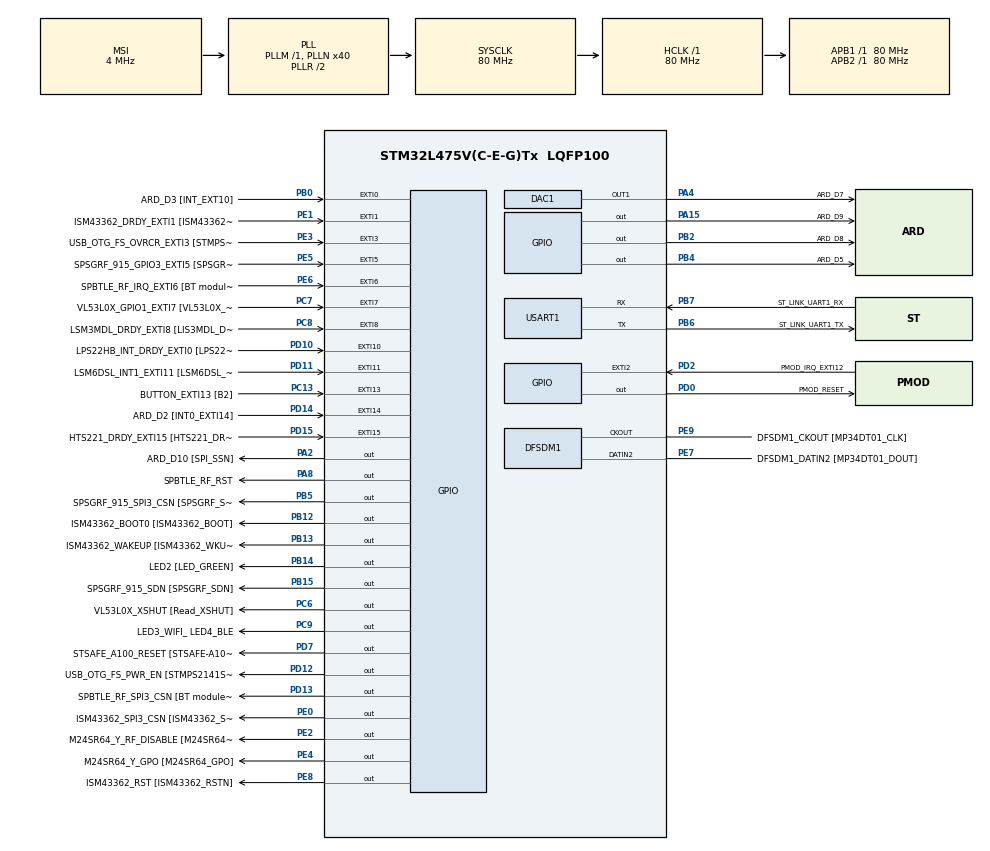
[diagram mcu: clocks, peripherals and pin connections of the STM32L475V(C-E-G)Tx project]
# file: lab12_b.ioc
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DAC1.DAC_Trigger-DAC_OUT1=DAC_TRIGGER_T2_TRGO
DFSDM1.Divider=17
DFSDM1.DmaMode_reg_FIL0=ENABLE
DFSDM1.FastMode_reg_FIL0=ENABLE
DFSDM1.Filter_regChannel_FIL0=DFSDM_CHANNEL_2
DFSDM1.Fosr_FIL0=32
DFSDM1.Oversampling_CH2=10
DFSDM1.RightBitShift_CH2=0x02
DFSDM1.SincOrder_FIL0=DFSDM_FILTER_SINC3_ORDER
Dma.DAC_CH1.1.Direction=DMA_MEMORY_TO_PERIPH
Dma.DAC_CH1.1.Instance=DMA1_Channel3
Dma.DAC_CH1.1.MemDataAlignment=DMA_MDATAALIGN_WORD
Dma.DAC_CH1.1.MemInc=DMA_MINC_ENABLE
Dma.DAC_CH1.1.Mode=DMA_CIRCULAR
Dma.DAC_CH1.1.PeriphDataAlignment=DMA_PDATAALIGN_WORD
Dma.DAC_CH1.1.PeriphInc=DMA_PINC_DISABLE
Dma.DAC_CH1.1.Priority=DMA_PRIORITY_LOW
Dma.DFSDM1_FLT0.0.Direction=DMA_PERIPH_TO_MEMORY
Dma.DFSDM1_FLT0.0.Instance=DMA1_Channel4
Dma.DFSDM1_FLT0.0.MemDataAlignment=DMA_MDATAALIGN_WORD
Dma.DFSDM1_FLT0.0.MemInc=DMA_MINC_ENABLE
Dma.DFSDM1_FLT0.0.Mode=DMA_CIRCULAR
Dma.DFSDM1_FLT0.0.PeriphDataAlignment=DMA_PDATAALIGN_WORD
Dma.DFSDM1_FLT0.0.PeriphInc=DMA_PINC_DISABLE
Dma.DFSDM1_FLT0.0.Priority=DMA_PRIORITY_LOW
Dma.Request0=DFSDM1_FLT0
Dma.Request1=DAC_CH1
FREERTOS.INCLUDE_vTaskDelayUntil=1
FREERTOS.Queues01=Queue01,256,uint32_t,0,Dynamic,NULL,NULL;Queue02,256,uint32_t,0,Dynamic,NULL,NULL
FREERTOS.Tasks01=Task1,1,128,Task1_DetectFrequ,Default,NULL,Dynamic,NULL,NULL;Task2,0,128,Task2_DetectSilence,Default,NULL,Dynamic,NULL,NULL;Task3,-1,128,Task3_GenerateWave,Default,NULL,Dynamic,NULL,NULL
FREERTOS.configTOTAL_HEAP_SIZE=4500
FREERTOS.configUSE_NEWLIB_REENTRANT=1
Mcu.Family=STM32L4
Mcu.Name=STM32L475V(C-E-G)Tx
Mcu.Package=LQFP100
NVIC.DMA1_Channel3_IRQn=true\:5\:0\:false\:false\:true\:true\:false\:true\:true
NVIC.DMA1_Channel4_IRQn=true\:5\:0\:false\:false\:true\:true\:false\:true\:true
NVIC.EXTI15_10_IRQn=true\:5\:0\:false\:false\:true\:true\:true\:true\:true
NVIC.EXTI9_5_IRQn=true\:5\:0\:false\:false\:true\:true\:true\:true\:true
NVIC.PriorityGroup=NVIC_PRIORITYGROUP_4
NVIC.TIM1_UP_TIM16_IRQn=true\:0\:0\:false\:false\:true\:false\:false\:true\:true
NVIC.TIM2_IRQn=true\:5\:0\:false\:false\:true\:true\:true\:true\:true
NVIC.TimeBase=TIM1_UP_TIM16_IRQn
NVIC.TimeBaseIP=TIM1
PA0.GPIO_Label=ARD_D1 [UART4_TX]
PA0.Signal=UART4_TX
PA1.GPIO_Label=ARD_D0 [UART4_RX]
PA1.Signal=UART4_RX
PA10.GPIO_Label=USB_OTG_FS_ID
PA10.Signal=USB_OTG_FS_ID
PA11.GPIO_Label=USB_OTG_FS_DM
PA11.Signal=USB_OTG_FS_DM
PA12.GPIO_Label=USB_OTG_FS_DP
PA12.Signal=USB_OTG_FS_DP
PA13\ (JTMS-SWDIO).GPIO_Label=SYS_JTMS_SWDIO
PA13\ (JTMS-SWDIO).Signal=SYS_JTMS-SWDIO
PA14\ (JTCK-SWCLK).GPIO_Label=SYS_JTCK_SWCLK
PA14\ (JTCK-SWCLK).Signal=SYS_JTCK-SWCLK
PA15\ (JTDI).GPIO_Label=ARD_D9
PA15\ (JTDI).Signal=GPIO_Output
PA2.GPIO_Label=ARD_D10 [SPI_SSN]
PA2.Signal=GPIO_Output
PA3.GPIO_Label=ARD_D4
PA3.Signal=S_TIM2_CH4
PA4.GPIO_Label=ARD_D7
PA4.Signal=SharedAnalog_PA4
PA5.GPIO_Label=ARD_D13 [SPI1_SCK]
PA5.Signal=SPI1_SCK
PA6.GPIO_Label=ARD_D12 [SPI1_MISO]
PA6.Signal=SPI1_MISO
PA7.GPIO_Label=ARD_D11 [SPI1_MOSI]
PA7.Signal=SPI1_MOSI
PA8.GPIO_Label=SPBTLE_RF_RST
PA8.Signal=GPIO_Output
PA9.GPIO_Label=USB_OTG_FS_VBUS [STMPS2141STR_OUT]
PA9.Signal=USB_OTG_FS_VBUS
PB0.GPIO_Label=ARD_D3 [INT_EXT10]
PB0.Signal=GPXTI0
PB1.GPIO_Label=ARD_D6 [ADC1_IN6]
PB1.Signal=ADCx_IN16
PB10.GPIO_Label=INTERNAL_I2C2_SCL [VL53L0X_SCL]
PB10.Signal=I2C2_SCL
PB11.GPIO_Label=INTERNAL_I2C2_SDA [VL53L0X_SDA]
PB11.Signal=I2C2_SDA
PB12.GPIO_Label=ISM43362_BOOT0 [ISM43362_BOOT]
PB12.Signal=GPIO_Output
PB13.GPIO_Label=ISM43362_WAKEUP [ISM43362_WKUP]
PB13.Signal=GPIO_Output
PB14.GPIO_Label=LED2 [LED_GREEN]
PB14.Signal=GPIO_Output
PB15.GPIO_Label=SPSGRF_915_SDN [SPSGRF_SDN]
PB15.Signal=GPIO_Output
PB2.GPIO_Label=ARD_D8
PB2.Signal=GPIO_Output
PB3\ (JTDO-TRACESWO).GPIO_Label=SYS_JTD0_SWO
PB3\ (JTDO-TRACESWO).Signal=SYS_JTDO-SWO
PB4\ (NJTRST).GPIO_Label=ARD_D5
PB4\ (NJTRST).Signal=GPIO_Output
PB5.GPIO_Label=SPSGRF_915_SPI3_CSN [SPSGRF_SPI_CS]
PB5.PinState=GPIO_PIN_SET
PB5.Signal=GPIO_Output
PB6.GPIO_Label=ST_LINK_UART1_TX
PB6.Mode=Asynchronous
PB6.Signal=USART1_TX
PB7.GPIO_Label=ST_LINK_UART1_RX
PB7.Mode=Asynchronous
PB7.Signal=USART1_RX
PB8.GPIO_Label=ARD_D15 [I2C1_SCL]
PB8.Signal=I2C1_SCL
PB9.GPIO_Label=ARD_D14 [I2C1_SDA]
PB9.Signal=I2C1_SDA
PC0.GPIO_Label=ARD_A5 [ADC]
PC0.Signal=ADCx_IN1
PC1.GPIO_Label=ARD_A4 [ADC]
PC1.Signal=ADCx_IN2
PC10.GPIO_Label=INTERNAL_SPI3_SCK [BT module_SPI_SCLK] [ISM43362_SCK]
PC10.Signal=SPI3_SCK
PC11.GPIO_Label=INTERNAL_SPI3_MISO [BT module_SPI_MISO] [ISM43362_MISO]
PC11.Signal=SPI3_MISO
PC12.GPIO_Label=INTERNAL_SPI3_MOSI [BT module_SPI_MOSI] [ISM43362_MOSI]
PC12.Signal=SPI3_MOSI
PC13.GPIO_Label=BUTTON_EXTI13 [B2]
PC13.GPIO_ModeDefaultEXTI=GPIO_MODE_IT_FALLING
PC13.Signal=GPXTI13
PC14-OSC32_IN\ (PC14).Signal=RCC_OSC32_IN
PC15-OSC32_OUT\ (PC15).Signal=RCC_OSC32_OUT
PC2.GPIO_Label=ARD_A3 [ADC]
PC2.Signal=ADCx_IN3
PC3.GPIO_Label=ARD_A2 [ADC]
PC3.Signal=ADCx_IN4
PC4.GPIO_Label=ARD_A1 [ADC]
PC4.Signal=ADCx_IN13
PC5.GPIO_Label=ARD_A0 [ADC]
PC5.Signal=ADCx_IN14
PC6.GPIO_Label=VL53L0X_XSHUT [Read_XSHUT]
PC6.Signal=GPIO_Output
PC7.GPIO_Label=VL53L0X_GPIO1_EXTI7 [VL53L0X_GPIO1]
PC7.Signal=GPXTI7
PC8.GPIO_Label=LSM3MDL_DRDY_EXTI8 [LIS3MDL_DRDY]
PC8.Signal=GPXTI8
PC9.GPIO_Label=LED3_WIFI_ LED4_BLE
PC9.Signal=GPIO_Output
PD0.GPIO_Label=PMOD_RESET
PD0.Signal=GPIO_Output
PD1.GPIO_Label=PMOD_SPI2_SCK
PD1.Signal=SPI2_SCK
PD10.GPIO_Label=LPS22HB_INT_DRDY_EXTI0 [LPS22HB_INT_DRDY] 
PD10.Signal=GPXTI10
PD11.GPIO_Label=LSM6DSL_INT1_EXTI11 [LSM6DSL_INT1]
PD11.Signal=GPXTI11
PD12.GPIO_Label=USB_OTG_FS_PWR_EN [STMPS2141STR_EN]
PD12.Signal=GPIO_Output
PD13.GPIO_Label=SPBTLE_RF_SPI3_CSN [BT module_SPI_CS]
PD13.PinState=GPIO_PIN_SET
PD13.Signal=GPIO_Output
PD14.GPIO_Label=ARD_D2 [INT0_EXTI14]
PD14.Signal=GPXTI14
PD15.GPIO_Label=HTS221_DRDY_EXTI15 [HTS221_DRDY]
PD15.Signal=GPXTI15
PD2.GPIO_Label=PMOD_IRQ_EXTI12
PD2.Signal=GPXTI2
PD3.GPIO_Label=PMOD_UART2_CTS
PD3.Signal=USART2_CTS
PD4.GPIO_Label=PMOD_UART2_RTS
PD4.Signal=USART2_RTS
PD5.GPIO_Label=PMOD_UART2_TX
PD5.Signal=USART2_TX
PD6.GPIO_Label=PMOD_UART2_RX
PD6.Signal=USART2_RX
PD7.GPIO_Label=STSAFE_A100_RESET [STSAFE-A100_RESET]
PD7.Signal=GPIO_Output
PD8.GPIO_Label=INTERNAL_UART3_TX [ISM43362_RX]
PD8.Signal=USART3_TX
PD9.GPIO_Label=INTERNAL_UART3_RX [ISM43362_TX]
PD9.Signal=USART3_RX
PE0.GPIO_Label=ISM43362_SPI3_CSN [ISM43362_SSN]
PE0.PinState=GPIO_PIN_SET
PE0.Signal=GPIO_Output
PE1.GPIO_Label=ISM43362_DRDY_EXTI1 [ISM43362_DATARDY]
PE1.Signal=GPXTI1
PE10.GPIO_Label=QUADSPI_CLK [MX25R6435F_SCLK]
PE10.Signal=QUADSPI_CLK
PE11.GPIO_Label=QUADSPI_NCS [MX25R6435F_SCLK]
PE11.Signal=QUADSPI_NCS
PE12.GPIO_Label=OQUADSPI_BK1_IO0 [MX25R6435F_IO0]
PE12.Signal=QUADSPI_BK1_IO0
PE13.GPIO_Label=QUADSPI_BK1_IO1 [MX25R6435F_IO1]
PE13.Signal=QUADSPI_BK1_IO1
PE14.GPIO_Label=QUAD_SPI_BK1_IO2 [MX25R6435F_IO2]
PE14.Signal=QUADSPI_BK1_IO2
PE15.GPIO_Label=QUAD_SPI_BK1_IO3 [MX25R6435F_IO3]
PE15.Signal=QUADSPI_BK1_IO3
PE2.GPIO_Label=M24SR64_Y_RF_DISABLE [M24SR64_RFDIS]
PE2.Signal=GPIO_Output
PE3.GPIO_Label=USB_OTG_FS_OVRCR_EXTI3 [STMPS2141STR_FAULT]
PE3.Signal=GPXTI3
PE4.GPIO_Label=M24SR64_Y_GPO [M24SR64_GPO]
PE4.Signal=GPIO_Output
PE5.GPIO_Label=SPSGRF_915_GPIO3_EXTI5 [SPSGRF_GPIO_3]
PE5.Signal=GPXTI5
PE6.GPIO_Label=SPBTLE_RF_IRQ_EXTI6 [BT module_SPI_IRQ]
PE6.Signal=GPXTI6
PE7.GPIO_Label=DFSDM1_DATIN2 [MP34DT01_DOUT]
PE7.Signal=S_DATAIN2DFSDM1
PE8.GPIO_Label=ISM43362_RST [ISM43362_RSTN]
PE8.Signal=GPIO_Output
PE9.GPIO_Label=DFSDM1_CKOUT [MP34DT01_CLK]
PE9.Signal=S_CKOUTDFSDM1
ProjectManager.HeapSize=0x200
ProjectManager.StackSize=0x400
ProjectManager.TargetToolchain=STM32CubeIDE
RCC.ADCFreq_Value=48000000
RCC.AHBFreq_Value=80000000
RCC.APB1Freq_Value=80000000
RCC.APB1TimFreq_Value=80000000
RCC.APB2Freq_Value=80000000
RCC.APB2TimFreq_Value=80000000
RCC.CortexFreq_Value=80000000
RCC.HCLKFreq_Value=80000000
RCC.HSE_VALUE=8000000
RCC.HSI_VALUE=16000000
RCC.LSE_VALUE=32768
RCC.MSI_VALUE=4000000
RCC.PLLN=40
RCC.PLLSAI1N=24
RCC.SYSCLKFreq_VALUE=80000000
RCC.SYSCLKSource=RCC_SYSCLKSOURCE_PLLCLK
RCC.USBFreq_Value=48000000
RCC.VCOOutputFreq_Value=160000000
SH.ADCx_IN1.0=ADC1_IN1
SH.ADCx_IN13.0=ADC1_IN13
SH.ADCx_IN14.0=ADC1_IN14
SH.ADCx_IN16.0=ADC1_IN16
SH.ADCx_IN2.0=ADC1_IN2
SH.ADCx_IN3.0=ADC1_IN3
SH.ADCx_IN4.0=ADC1_IN4
SH.S_CKOUTDFSDM1.0=DFSDM1_CKOUT,PDM_SPI_input_from_ch2_and_internal_clock
SH.S_CKOUTDFSDM1.1=DFSDM1_CKOUT,CKOUT
SH.S_DATAIN2DFSDM1.0=DFSDM1_DATIN2,PDM_SPI_input_from_ch2_and_internal_clock
SH.S_TIM2_CH4.0=TIM2_CH4
SH.SharedAnalog_PA4.0=ADC1_IN9
SH.SharedAnalog_PA4.1=DAC1_OUT1,DAC_OUT1
TIM2.Period=79
TIM2.Prescaler=0
TIM2.TIM_MasterOutputTrigger=TIM_TRGO_UPDATE
USART1.VirtualMode-Asynchronous=VM_ASYNC
VP_FREERTOS_VS_CMSIS_V1.Mode=CMSIS_V1
VP_SYS_VS_tim1.Mode=TIM1
VP_TIM2_VS_ClockSourceINT.Mode=Internal
board=B-L475E-IOT01A2

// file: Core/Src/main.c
/* USER CODE BEGIN Header */
/**
  ******************************************************************************
  * @file           : main.c
  * @brief          : Main program body
  ******************************************************************************
  * @attention
  *
  * <h2><center>&copy; Copyright (c) 2022 STMicroelectronics.
  * All rights reserved.</center></h2>
  *
  * This software component is licensed by ST under BSD 3-Clause license,
  * the "License"; You may not use this file except in compliance with the
  * License. You may obtain a copy of the License at:
  *                        opensource.org/licenses/BSD-3-Clause
  *
  ******************************************************************************
  */
/* USER CODE END Header */
#include "main.h"
#include "cmsis_os.h"

/* USER CODE BEGIN Includes */
#include "arm_math.h"
#include "math.h"
#include "stdbool.h"
#include "stdio.h"

float amplitude = 0.0f;   // used in task1
uint32_t sine_arr[100];
void get_sine_arr()
{
	for (int i=0;i<100;i++)
	{
		sine_arr[i] = ((sin(2*M_PI*i/100)+1)*(4095/2));
	}
}
/* USER CODE END Includes */

/* USER CODE BEGIN PD */
#define FFT_SampleNum	2048
#define FFT_AC_COUPLING_HZ  1000.0f

#define FREQ 3000	//input : this freq. will be detected in step1
#define DELTA 100	//input : this defines the range +- from the FREQ

#define FOUT 3200 	//output frequency value
#define TOUT 10000 	//Time for output freq.

/* USER CODE END PD */

DAC_HandleTypeDef hdac1;
DMA_HandleTypeDef hdma_dac_ch1;

DFSDM_Filter_HandleTypeDef hdfsdm1_filter0;
DFSDM_Channel_HandleTypeDef hdfsdm1_channel2;
DMA_HandleTypeDef hdma_dfsdm1_flt0;

TIM_HandleTypeDef htim2;

UART_HandleTypeDef huart1;

osThreadId Task1Handle;
osThreadId Task2Handle;
osThreadId Task3Handle;
osMessageQId Queue01Handle;
osMessageQId Queue02Handle;

/* USER CODE BEGIN PV */
bool task3_flag = false;
bool flag = true;
int32_t Buff[FFT_SampleNum * 2] = {0};

arm_rfft_fast_instance_f32 S;
float FFT_SampleRate;
int32_t FFT_inp_int32[FFT_SampleNum] = {0};
float FFT_inp[FFT_SampleNum] = {0.0f};
float FFT_oup[FFT_SampleNum] = {0.0f};
float FFT_mag[FFT_SampleNum/2] = {0.0f};
float FFT_dB[FFT_SampleNum/2] = {0.0f};
float FFT_frq[FFT_SampleNum/2] = {0.0f};
float FFT_window[FFT_SampleNum] = {0.0f};
/* USER CODE END PV */

void SystemClock_Config(void);
static void MX_GPIO_Init(void);
static void MX_DMA_Init(void);
static void MX_DFSDM1_Init(void);
static void MX_USART1_UART_Init(void);
static void MX_DAC1_Init(void);
static void MX_TIM2_Init(void);
void StartTask1_init(void const * argument);
void StartTask2_init(void const * argument);
void StartTask3_init(void const * argument);

int main(void)
{

  /* MCU Configuration--------------------------------------------------------*/

  /* Reset of all peripherals, Initializes the Flash interface and the Systick. */
  HAL_Init();

  /* Configure the system clock */
  SystemClock_Config();

  /* Initialize all configured peripherals */
  MX_GPIO_Init();
  MX_DMA_Init();
  MX_DFSDM1_Init();
  MX_USART1_UART_Init();
  MX_DAC1_Init();
  MX_TIM2_Init();
  /* USER CODE BEGIN 2 */

  	HAL_DAC_Start(&hdac1, DAC_CHANNEL_1);
    HAL_TIM_Base_Start(&htim2);
    get_sine_arr();

  printf("\r\n\n**************** Program start! ****************\r\n\n");
  HAL_Delay(100);

	if (HAL_DFSDM_FilterRegularStart_DMA(&hdfsdm1_filter0, Buff, FFT_SampleNum) != HAL_OK)
	{
		Error_Handler();
	}

	// FFT init
	FFT_SampleRate = SystemCoreClock / hdfsdm1_channel2.Init.OutputClock.Divider
			/ hdfsdm1_filter0.Init.FilterParam.Oversampling
			/ hdfsdm1_filter0.Init.FilterParam.IntOversampling;

	// Hanning window
	const float tmp = 2.0f * M_PI / (float) FFT_SampleNum;
	for (uint32_t i = 0; i < FFT_SampleNum; i++)
		*(FFT_window + i) = 0.5f - 0.5f * arm_cos_f32((float) i * tmp);

	for (uint32_t i = 0; i < FFT_SampleNum / 2; i++)
		*(FFT_frq + i) = (float)i * (float)FFT_SampleRate / (float) FFT_SampleNum;

	arm_rfft_fast_init_f32(&S, FFT_SampleNum );
  /* USER CODE END 2 */

  /* Create the queue(s) */
  /* definition and creation of Queue01 */
  osMessageQDef(Queue01, 256, uint32_t);
  Queue01Handle = osMessageCreate(osMessageQ(Queue01), NULL);

  /* definition and creation of Queue02 */
  osMessageQDef(Queue02, 256, uint32_t);
  Queue02Handle = osMessageCreate(osMessageQ(Queue02), NULL);

  /* Create the thread(s) */
  /* definition and creation of Task1 */
  osThreadDef(Task1, StartTask1_init, osPriorityAboveNormal, 0, 128);
  Task1Handle = osThreadCreate(osThread(Task1), NULL);

  /* definition and creation of Task2 */
  osThreadDef(Task2, StartTask2_init, osPriorityNormal, 0, 128);
  Task2Handle = osThreadCreate(osThread(Task2), NULL);

  /* definition and creation of Task3 */
  osThreadDef(Task3, StartTask3_init, osPriorityBelowNormal, 0, 128);
  Task3Handle = osThreadCreate(osThread(Task3), NULL);

  /* Start scheduler */
  osKernelStart();

  /* We should never get here as control is now taken by the scheduler */
  /* Infinite loop */
  while (1)
  {

  }
}

void SystemClock_Config(void)
{
  RCC_OscInitTypeDef RCC_OscInitStruct = {0};
  RCC_ClkInitTypeDef RCC_ClkInitStruct = {0};
  RCC_PeriphCLKInitTypeDef PeriphClkInit = {0};

  /** Initializes the RCC Oscillators according to the specified parameters
  * in the RCC_OscInitTypeDef structure.
  */
  RCC_OscInitStruct.OscillatorType = RCC_OSCILLATORTYPE_MSI;
  RCC_OscInitStruct.MSIState = RCC_MSI_ON;
  RCC_OscInitStruct.MSICalibrationValue = 0;
  RCC_OscInitStruct.MSIClockRange = RCC_MSIRANGE_6;
  RCC_OscInitStruct.PLL.PLLState = RCC_PLL_ON;
  RCC_OscInitStruct.PLL.PLLSource = RCC_PLLSOURCE_MSI;
  RCC_OscInitStruct.PLL.PLLM = 1;
  RCC_OscInitStruct.PLL.PLLN = 40;
  RCC_OscInitStruct.PLL.PLLP = RCC_PLLP_DIV7;
  RCC_OscInitStruct.PLL.PLLQ = RCC_PLLQ_DIV2;
  RCC_OscInitStruct.PLL.PLLR = RCC_PLLR_DIV2;
  if (HAL_RCC_OscConfig(&RCC_OscInitStruct) != HAL_OK)
  {
    Error_Handler();
  }
  /** Initializes the CPU, AHB and APB buses clocks
  */
  RCC_ClkInitStruct.ClockType = RCC_CLOCKTYPE_HCLK|RCC_CLOCKTYPE_SYSCLK
                              |RCC_CLOCKTYPE_PCLK1|RCC_CLOCKTYPE_PCLK2;
  RCC_ClkInitStruct.SYSCLKSource = RCC_SYSCLKSOURCE_PLLCLK;
  RCC_ClkInitStruct.AHBCLKDivider = RCC_SYSCLK_DIV1;
  RCC_ClkInitStruct.APB1CLKDivider = RCC_HCLK_DIV1;
  RCC_ClkInitStruct.APB2CLKDivider = RCC_HCLK_DIV1;

  if (HAL_RCC_ClockConfig(&RCC_ClkInitStruct, FLASH_LATENCY_4) != HAL_OK)
  {
    Error_Handler();
  }
  PeriphClkInit.PeriphClockSelection = RCC_PERIPHCLK_USART1|RCC_PERIPHCLK_DFSDM1;
  PeriphClkInit.Usart1ClockSelection = RCC_USART1CLKSOURCE_PCLK2;
  PeriphClkInit.Dfsdm1ClockSelection = RCC_DFSDM1CLKSOURCE_PCLK;
  if (HAL_RCCEx_PeriphCLKConfig(&PeriphClkInit) != HAL_OK)
  {
    Error_Handler();
  }
  /** Configure the main internal regulator output voltage
  */
  if (HAL_PWREx_ControlVoltageScaling(PWR_REGULATOR_VOLTAGE_SCALE1) != HAL_OK)
  {
    Error_Handler();
  }
}

static void MX_DAC1_Init(void)
{

  DAC_ChannelConfTypeDef sConfig = {0};

  /** DAC Initialization
  */
  hdac1.Instance = DAC1;
  if (HAL_DAC_Init(&hdac1) != HAL_OK)
  {
    Error_Handler();
  }
  /** DAC channel OUT1 config
  */
  sConfig.DAC_SampleAndHold = DAC_SAMPLEANDHOLD_DISABLE;
  sConfig.DAC_Trigger = DAC_TRIGGER_T2_TRGO;
  sConfig.DAC_OutputBuffer = DAC_OUTPUTBUFFER_ENABLE;
  sConfig.DAC_ConnectOnChipPeripheral = DAC_CHIPCONNECT_DISABLE;
  sConfig.DAC_UserTrimming = DAC_TRIMMING_FACTORY;
  if (HAL_DAC_ConfigChannel(&hdac1, &sConfig, DAC_CHANNEL_1) != HAL_OK)
  {
    Error_Handler();
  }

}

static void MX_DFSDM1_Init(void)
{

  hdfsdm1_filter0.Instance = DFSDM1_Filter0;
  hdfsdm1_filter0.Init.RegularParam.Trigger = DFSDM_FILTER_SW_TRIGGER;
  hdfsdm1_filter0.Init.RegularParam.FastMode = ENABLE;
  hdfsdm1_filter0.Init.RegularParam.DmaMode = ENABLE;
  hdfsdm1_filter0.Init.FilterParam.SincOrder = DFSDM_FILTER_SINC3_ORDER;
  hdfsdm1_filter0.Init.FilterParam.Oversampling = 32;
  hdfsdm1_filter0.Init.FilterParam.IntOversampling = 1;
  if (HAL_DFSDM_FilterInit(&hdfsdm1_filter0) != HAL_OK)
  {
    Error_Handler();
  }
  hdfsdm1_channel2.Instance = DFSDM1_Channel2;
  hdfsdm1_channel2.Init.OutputClock.Activation = ENABLE;
  hdfsdm1_channel2.Init.OutputClock.Selection = DFSDM_CHANNEL_OUTPUT_CLOCK_SYSTEM;
  hdfsdm1_channel2.Init.OutputClock.Divider = 17;
  hdfsdm1_channel2.Init.Input.Multiplexer = DFSDM_CHANNEL_EXTERNAL_INPUTS;
  hdfsdm1_channel2.Init.Input.DataPacking = DFSDM_CHANNEL_STANDARD_MODE;
  hdfsdm1_channel2.Init.Input.Pins = DFSDM_CHANNEL_SAME_CHANNEL_PINS;
  hdfsdm1_channel2.Init.SerialInterface.Type = DFSDM_CHANNEL_SPI_RISING;
  hdfsdm1_channel2.Init.SerialInterface.SpiClock = DFSDM_CHANNEL_SPI_CLOCK_INTERNAL;
  hdfsdm1_channel2.Init.Awd.FilterOrder = DFSDM_CHANNEL_FASTSINC_ORDER;
  hdfsdm1_channel2.Init.Awd.Oversampling = 10;
  hdfsdm1_channel2.Init.Offset = 0;
  hdfsdm1_channel2.Init.RightBitShift = 0x02;
  if (HAL_DFSDM_ChannelInit(&hdfsdm1_channel2) != HAL_OK)
  {
    Error_Handler();
  }
  if (HAL_DFSDM_FilterConfigRegChannel(&hdfsdm1_filter0, DFSDM_CHANNEL_2, DFSDM_CONTINUOUS_CONV_ON) != HAL_OK)
  {
    Error_Handler();
  }

}

static void MX_TIM2_Init(void)
{

  TIM_ClockConfigTypeDef sClockSourceConfig = {0};
  TIM_MasterConfigTypeDef sMasterConfig = {0};

  htim2.Instance = TIM2;
  htim2.Init.Prescaler = 0;
  htim2.Init.CounterMode = TIM_COUNTERMODE_UP;
  htim2.Init.Period = (int)(80000000/(FOUT*100));
  htim2.Init.ClockDivision = TIM_CLOCKDIVISION_DIV1;
  htim2.Init.AutoReloadPreload = TIM_AUTORELOAD_PRELOAD_DISABLE;
  if (HAL_TIM_Base_Init(&htim2) != HAL_OK)
  {
    Error_Handler();
  }
  sClockSourceConfig.ClockSource = TIM_CLOCKSOURCE_INTERNAL;
  if (HAL_TIM_ConfigClockSource(&htim2, &sClockSourceConfig) != HAL_OK)
  {
    Error_Handler();
  }
  sMasterConfig.MasterOutputTrigger = TIM_TRGO_UPDATE;
  sMasterConfig.MasterSlaveMode = TIM_MASTERSLAVEMODE_DISABLE;
  if (HAL_TIMEx_MasterConfigSynchronization(&htim2, &sMasterConfig) != HAL_OK)
  {
    Error_Handler();
  }

}

static void MX_USART1_UART_Init(void)
{

  huart1.Instance = USART1;
  huart1.Init.BaudRate = 115200;
  huart1.Init.WordLength = UART_WORDLENGTH_8B;
  huart1.Init.StopBits = UART_STOPBITS_1;
  huart1.Init.Parity = UART_PARITY_NONE;
  huart1.Init.Mode = UART_MODE_TX_RX;
  huart1.Init.HwFlowCtl = UART_HWCONTROL_NONE;
  huart1.Init.OverSampling = UART_OVERSAMPLING_16;
  huart1.Init.OneBitSampling = UART_ONE_BIT_SAMPLE_DISABLE;
  huart1.AdvancedInit.AdvFeatureInit = UART_ADVFEATURE_NO_INIT;
  if (HAL_UART_Init(&huart1) != HAL_OK)
  {
    Error_Handler();
  }

}

static void MX_DMA_Init(void)
{

  /* DMA controller clock enable */
  __HAL_RCC_DMA1_CLK_ENABLE();

  /* DMA interrupt init */
  /* DMA1_Channel3_IRQn interrupt configuration */
  HAL_NVIC_SetPriority(DMA1_Channel3_IRQn, 5, 0);
  HAL_NVIC_EnableIRQ(DMA1_Channel3_IRQn);
  /* DMA1_Channel4_IRQn interrupt configuration */
  HAL_NVIC_SetPriority(DMA1_Channel4_IRQn, 5, 0);
  HAL_NVIC_EnableIRQ(DMA1_Channel4_IRQn);

}

static void MX_GPIO_Init(void)
{
  GPIO_InitTypeDef GPIO_InitStruct = {0};

  /* GPIO Ports Clock Enable */
  __HAL_RCC_GPIOE_CLK_ENABLE();
  __HAL_RCC_GPIOC_CLK_ENABLE();
  __HAL_RCC_GPIOA_CLK_ENABLE();
  __HAL_RCC_GPIOB_CLK_ENABLE();
  __HAL_RCC_GPIOD_CLK_ENABLE();

  /*Configure GPIO pin Output Level */
  HAL_GPIO_WritePin(GPIOE, M24SR64_Y_RF_DISABLE_Pin|M24SR64_Y_GPO_Pin|ISM43362_RST_Pin, GPIO_PIN_RESET);

  /*Configure GPIO pin Output Level */
  HAL_GPIO_WritePin(GPIOA, ARD_D10_Pin|SPBTLE_RF_RST_Pin|ARD_D9_Pin, GPIO_PIN_RESET);

  /*Configure GPIO pin Output Level */
  HAL_GPIO_WritePin(GPIOB, ARD_D8_Pin|ISM43362_BOOT0_Pin|ISM43362_WAKEUP_Pin|LED2_Pin
                          |SPSGRF_915_SDN_Pin|ARD_D5_Pin, GPIO_PIN_RESET);

  /*Configure GPIO pin Output Level */
  HAL_GPIO_WritePin(GPIOD, USB_OTG_FS_PWR_EN_Pin|PMOD_RESET_Pin|STSAFE_A100_RESET_Pin, GPIO_PIN_RESET);

  /*Configure GPIO pin Output Level */
  HAL_GPIO_WritePin(SPBTLE_RF_SPI3_CSN_GPIO_Port, SPBTLE_RF_SPI3_CSN_Pin, GPIO_PIN_SET);

  /*Configure GPIO pin Output Level */
  HAL_GPIO_WritePin(GPIOC, VL53L0X_XSHUT_Pin|LED3_WIFI__LED4_BLE_Pin, GPIO_PIN_RESET);

  /*Configure GPIO pin Output Level */
  HAL_GPIO_WritePin(SPSGRF_915_SPI3_CSN_GPIO_Port, SPSGRF_915_SPI3_CSN_Pin, GPIO_PIN_SET);

  /*Configure GPIO pin Output Level */
  HAL_GPIO_WritePin(ISM43362_SPI3_CSN_GPIO_Port, ISM43362_SPI3_CSN_Pin, GPIO_PIN_SET);

  /*Configure GPIO pins : M24SR64_Y_RF_DISABLE_Pin M24SR64_Y_GPO_Pin ISM43362_RST_Pin ISM43362_SPI3_CSN_Pin */
  GPIO_InitStruct.Pin = M24SR64_Y_RF_DISABLE_Pin|M24SR64_Y_GPO_Pin|ISM43362_RST_Pin|ISM43362_SPI3_CSN_Pin;
  GPIO_InitStruct.Mode = GPIO_MODE_OUTPUT_PP;
  GPIO_InitStruct.Pull = GPIO_NOPULL;
  GPIO_InitStruct.Speed = GPIO_SPEED_FREQ_LOW;
  HAL_GPIO_Init(GPIOE, &GPIO_InitStruct);

  /*Configure GPIO pins : USB_OTG_FS_OVRCR_EXTI3_Pin SPSGRF_915_GPIO3_EXTI5_Pin SPBTLE_RF_IRQ_EXTI6_Pin ISM43362_DRDY_EXTI1_Pin */
  GPIO_InitStruct.Pin = USB_OTG_FS_OVRCR_EXTI3_Pin|SPSGRF_915_GPIO3_EXTI5_Pin|SPBTLE_RF_IRQ_EXTI6_Pin|ISM43362_DRDY_EXTI1_Pin;
  GPIO_InitStruct.Mode = GPIO_MODE_IT_RISING;
  GPIO_InitStruct.Pull = GPIO_NOPULL;
  HAL_GPIO_Init(GPIOE, &GPIO_InitStruct);

  /*Configure GPIO pin : BUTTON_EXTI13_Pin */
  GPIO_InitStruct.Pin = BUTTON_EXTI13_Pin;
  GPIO_InitStruct.Mode = GPIO_MODE_IT_FALLING;
  GPIO_InitStruct.Pull = GPIO_NOPULL;
  HAL_GPIO_Init(BUTTON_EXTI13_GPIO_Port, &GPIO_InitStruct);

  /*Configure GPIO pins : ARD_A5_Pin ARD_A4_Pin ARD_A3_Pin ARD_A2_Pin
                           ARD_A1_Pin ARD_A0_Pin */
  GPIO_InitStruct.Pin = ARD_A5_Pin|ARD_A4_Pin|ARD_A3_Pin|ARD_A2_Pin
                          |ARD_A1_Pin|ARD_A0_Pin;
  GPIO_InitStruct.Mode = GPIO_MODE_ANALOG_ADC_CONTROL;
  GPIO_InitStruct.Pull = GPIO_NOPULL;
  HAL_GPIO_Init(GPIOC, &GPIO_InitStruct);

  /*Configure GPIO pins : ARD_D1_Pin ARD_D0_Pin */
  GPIO_InitStruct.Pin = ARD_D1_Pin|ARD_D0_Pin;
  GPIO_InitStruct.Mode = GPIO_MODE_AF_PP;
  GPIO_InitStruct.Pull = GPIO_NOPULL;
  GPIO_InitStruct.Speed = GPIO_SPEED_FREQ_VERY_HIGH;
  GPIO_InitStruct.Alternate = GPIO_AF8_UART4;
  HAL_GPIO_Init(GPIOA, &GPIO_InitStruct);

  /*Configure GPIO pins : ARD_D10_Pin SPBTLE_RF_RST_Pin ARD_D9_Pin */
  GPIO_InitStruct.Pin = ARD_D10_Pin|SPBTLE_RF_RST_Pin|ARD_D9_Pin;
  GPIO_InitStruct.Mode = GPIO_MODE_OUTPUT_PP;
  GPIO_InitStruct.Pull = GPIO_NOPULL;
  GPIO_InitStruct.Speed = GPIO_SPEED_FREQ_LOW;
  HAL_GPIO_Init(GPIOA, &GPIO_InitStruct);

  /*Configure GPIO pin : ARD_D7_Pin */
  GPIO_InitStruct.Pin = ARD_D7_Pin;
  GPIO_InitStruct.Mode = GPIO_MODE_ANALOG;
  GPIO_InitStruct.Pull = GPIO_NOPULL;
  HAL_GPIO_Init(ARD_D7_GPIO_Port, &GPIO_InitStruct);

  /*Configure GPIO pins : ARD_D13_Pin ARD_D12_Pin ARD_D11_Pin */
  GPIO_InitStruct.Pin = ARD_D13_Pin|ARD_D12_Pin|ARD_D11_Pin;
  GPIO_InitStruct.Mode = GPIO_MODE_AF_PP;
  GPIO_InitStruct.Pull = GPIO_NOPULL;
  GPIO_InitStruct.Speed = GPIO_SPEED_FREQ_VERY_HIGH;
  GPIO_InitStruct.Alternate = GPIO_AF5_SPI1;
  HAL_GPIO_Init(GPIOA, &GPIO_InitStruct);

  /*Configure GPIO pin : ARD_D3_Pin */
  GPIO_InitStruct.Pin = ARD_D3_Pin;
  GPIO_InitStruct.Mode = GPIO_MODE_IT_RISING;
  GPIO_InitStruct.Pull = GPIO_NOPULL;
  HAL_GPIO_Init(ARD_D3_GPIO_Port, &GPIO_InitStruct);

  /*Configure GPIO pin : ARD_D6_Pin */
  GPIO_InitStruct.Pin = ARD_D6_Pin;
  GPIO_InitStruct.Mode = GPIO_MODE_ANALOG_ADC_CONTROL;
  GPIO_InitStruct.Pull = GPIO_NOPULL;
  HAL_GPIO_Init(ARD_D6_GPIO_Port, &GPIO_InitStruct);

  /*Configure GPIO pins : ARD_D8_Pin ISM43362_BOOT0_Pin ISM43362_WAKEUP_Pin LED2_Pin
                           SPSGRF_915_SDN_Pin ARD_D5_Pin SPSGRF_915_SPI3_CSN_Pin */
  GPIO_InitStruct.Pin = ARD_D8_Pin|ISM43362_BOOT0_Pin|ISM43362_WAKEUP_Pin|LED2_Pin
                          |SPSGRF_915_SDN_Pin|ARD_D5_Pin|SPSGRF_915_SPI3_CSN_Pin;
  GPIO_InitStruct.Mode = GPIO_MODE_OUTPUT_PP;
  GPIO_InitStruct.Pull = GPIO_NOPULL;
  GPIO_InitStruct.Speed = GPIO_SPEED_FREQ_LOW;
  HAL_GPIO_Init(GPIOB, &GPIO_InitStruct);

  /*Configure GPIO pins : QUADSPI_CLK_Pin QUADSPI_NCS_Pin OQUADSPI_BK1_IO0_Pin QUADSPI_BK1_IO1_Pin
                           QUAD_SPI_BK1_IO2_Pin QUAD_SPI_BK1_IO3_Pin */
  GPIO_InitStruct.Pin = QUADSPI_CLK_Pin|QUADSPI_NCS_Pin|OQUADSPI_BK1_IO0_Pin|QUADSPI_BK1_IO1_Pin
                          |QUAD_SPI_BK1_IO2_Pin|QUAD_SPI_BK1_IO3_Pin;
  GPIO_InitStruct.Mode = GPIO_MODE_AF_PP;
  GPIO_InitStruct.Pull = GPIO_NOPULL;
  GPIO_InitStruct.Speed = GPIO_SPEED_FREQ_VERY_HIGH;
  GPIO_InitStruct.Alternate = GPIO_AF10_QUADSPI;
  HAL_GPIO_Init(GPIOE, &GPIO_InitStruct);

  /*Configure GPIO pins : INTERNAL_I2C2_SCL_Pin INTERNAL_I2C2_SDA_Pin */
  GPIO_InitStruct.Pin = INTERNAL_I2C2_SCL_Pin|INTERNAL_I2C2_SDA_Pin;
  GPIO_InitStruct.Mode = GPIO_MODE_AF_OD;
  GPIO_InitStruct.Pull = GPIO_PULLUP;
  GPIO_InitStruct.Speed = GPIO_SPEED_FREQ_VERY_HIGH;
  GPIO_InitStruct.Alternate = GPIO_AF4_I2C2;
  HAL_GPIO_Init(GPIOB, &GPIO_InitStruct);

  /*Configure GPIO pins : INTERNAL_UART3_TX_Pin INTERNAL_UART3_RX_Pin */
  GPIO_InitStruct.Pin = INTERNAL_UART3_TX_Pin|INTERNAL_UART3_RX_Pin;
  GPIO_InitStruct.Mode = GPIO_MODE_AF_PP;
  GPIO_InitStruct.Pull = GPIO_NOPULL;
  GPIO_InitStruct.Speed = GPIO_SPEED_FREQ_VERY_HIGH;
  GPIO_InitStruct.Alternate = GPIO_AF7_USART3;
  HAL_GPIO_Init(GPIOD, &GPIO_InitStruct);

  /*Configure GPIO pins : LPS22HB_INT_DRDY_EXTI0_Pin LSM6DSL_INT1_EXTI11_Pin ARD_D2_Pin HTS221_DRDY_EXTI15_Pin
                           PMOD_IRQ_EXTI12_Pin */
  GPIO_InitStruct.Pin = LPS22HB_INT_DRDY_EXTI0_Pin|LSM6DSL_INT1_EXTI11_Pin|ARD_D2_Pin|HTS221_DRDY_EXTI15_Pin
                          |PMOD_IRQ_EXTI12_Pin;
  GPIO_InitStruct.Mode = GPIO_MODE_IT_RISING;
  GPIO_InitStruct.Pull = GPIO_NOPULL;
  HAL_GPIO_Init(GPIOD, &GPIO_InitStruct);

  /*Configure GPIO pins : USB_OTG_FS_PWR_EN_Pin SPBTLE_RF_SPI3_CSN_Pin PMOD_RESET_Pin STSAFE_A100_RESET_Pin */
  GPIO_InitStruct.Pin = USB_OTG_FS_PWR_EN_Pin|SPBTLE_RF_SPI3_CSN_Pin|PMOD_RESET_Pin|STSAFE_A100_RESET_Pin;
  GPIO_InitStruct.Mode = GPIO_MODE_OUTPUT_PP;
  GPIO_InitStruct.Pull = GPIO_NOPULL;
  GPIO_InitStruct.Speed = GPIO_SPEED_FREQ_LOW;
  HAL_GPIO_Init(GPIOD, &GPIO_InitStruct);

  /*Configure GPIO pins : VL53L0X_XSHUT_Pin LED3_WIFI__LED4_BLE_Pin */
  GPIO_InitStruct.Pin = VL53L0X_XSHUT_Pin|LED3_WIFI__LED4_BLE_Pin;
  GPIO_InitStruct.Mode = GPIO_MODE_OUTPUT_PP;
  GPIO_InitStruct.Pull = GPIO_NOPULL;
  GPIO_InitStruct.Speed = GPIO_SPEED_FREQ_LOW;
  HAL_GPIO_Init(GPIOC, &GPIO_InitStruct);

  /*Configure GPIO pins : VL53L0X_GPIO1_EXTI7_Pin LSM3MDL_DRDY_EXTI8_Pin */
  GPIO_InitStruct.Pin = VL53L0X_GPIO1_EXTI7_Pin|LSM3MDL_DRDY_EXTI8_Pin;
  GPIO_InitStruct.Mode = GPIO_MODE_IT_RISING;
  GPIO_InitStruct.Pull = GPIO_NOPULL;
  HAL_GPIO_Init(GPIOC, &GPIO_InitStruct);

  /*Configure GPIO pin : USB_OTG_FS_VBUS_Pin */
  GPIO_InitStruct.Pin = USB_OTG_FS_VBUS_Pin;
  GPIO_InitStruct.Mode = GPIO_MODE_INPUT;
  GPIO_InitStruct.Pull = GPIO_NOPULL;
  HAL_GPIO_Init(USB_OTG_FS_VBUS_GPIO_Port, &GPIO_InitStruct);

  /*Configure GPIO pins : USB_OTG_FS_ID_Pin USB_OTG_FS_DM_Pin USB_OTG_FS_DP_Pin */
  GPIO_InitStruct.Pin = USB_OTG_FS_ID_Pin|USB_OTG_FS_DM_Pin|USB_OTG_FS_DP_Pin;
  GPIO_InitStruct.Mode = GPIO_MODE_AF_PP;
  GPIO_InitStruct.Pull = GPIO_NOPULL;
  GPIO_InitStruct.Speed = GPIO_SPEED_FREQ_VERY_HIGH;
  GPIO_InitStruct.Alternate = GPIO_AF10_OTG_FS;
  HAL_GPIO_Init(GPIOA, &GPIO_InitStruct);

  /*Configure GPIO pins : INTERNAL_SPI3_SCK_Pin INTERNAL_SPI3_MISO_Pin INTERNAL_SPI3_MOSI_Pin */
  GPIO_InitStruct.Pin = INTERNAL_SPI3_SCK_Pin|INTERNAL_SPI3_MISO_Pin|INTERNAL_SPI3_MOSI_Pin;
  GPIO_InitStruct.Mode = GPIO_MODE_AF_PP;
  GPIO_InitStruct.Pull = GPIO_NOPULL;
  GPIO_InitStruct.Speed = GPIO_SPEED_FREQ_VERY_HIGH;
  GPIO_InitStruct.Alternate = GPIO_AF6_SPI3;
  HAL_GPIO_Init(GPIOC, &GPIO_InitStruct);

  /*Configure GPIO pin : PMOD_SPI2_SCK_Pin */
  GPIO_InitStruct.Pin = PMOD_SPI2_SCK_Pin;
  GPIO_InitStruct.Mode = GPIO_MODE_AF_PP;
  GPIO_InitStruct.Pull = GPIO_NOPULL;
  GPIO_InitStruct.Speed = GPIO_SPEED_FREQ_VERY_HIGH;
  GPIO_InitStruct.Alternate = GPIO_AF5_SPI2;
  HAL_GPIO_Init(PMOD_SPI2_SCK_GPIO_Port, &GPIO_InitStruct);

  /*Configure GPIO pins : PMOD_UART2_CTS_Pin PMOD_UART2_RTS_Pin PMOD_UART2_TX_Pin PMOD_UART2_RX_Pin */
  GPIO_InitStruct.Pin = PMOD_UART2_CTS_Pin|PMOD_UART2_RTS_Pin|PMOD_UART2_TX_Pin|PMOD_UART2_RX_Pin;
  GPIO_InitStruct.Mode = GPIO_MODE_AF_PP;
  GPIO_InitStruct.Pull = GPIO_NOPULL;
  GPIO_InitStruct.Speed = GPIO_SPEED_FREQ_VERY_HIGH;
  GPIO_InitStruct.Alternate = GPIO_AF7_USART2;
  HAL_GPIO_Init(GPIOD, &GPIO_InitStruct);

  /*Configure GPIO pins : ARD_D15_Pin ARD_D14_Pin */
  GPIO_InitStruct.Pin = ARD_D15_Pin|ARD_D14_Pin;
  GPIO_InitStruct.Mode = GPIO_MODE_AF_OD;
  GPIO_InitStruct.Pull = GPIO_PULLUP;
  GPIO_InitStruct.Speed = GPIO_SPEED_FREQ_VERY_HIGH;
  GPIO_InitStruct.Alternate = GPIO_AF4_I2C1;
  HAL_GPIO_Init(GPIOB, &GPIO_InitStruct);

  /* EXTI interrupt init*/
  HAL_NVIC_SetPriority(EXTI9_5_IRQn, 5, 0);
  HAL_NVIC_EnableIRQ(EXTI9_5_IRQn);

  HAL_NVIC_SetPriority(EXTI15_10_IRQn, 5, 0);
  HAL_NVIC_EnableIRQ(EXTI15_10_IRQn);

}

/* USER CODE BEGIN 4 */
void HAL_DFSDM_FilterRegConvHalfCpltCallback(DFSDM_Filter_HandleTypeDef *hdfsdm_filter)
{
    /*static int i = 0;
    printf("%d\r\n", i);
    i++;*/
}

/**
  * @brief  Regular conversion complete callback.
  * @note   In interrupt mode, user has to read conversion value in this function
            using HAL_DFSDM_FilterGetRegularValue.
  * @param  hdfsdm_filter : DFSDM filter handle.
  * @retval None
  */
void HAL_DFSDM_FilterRegConvCpltCallback(DFSDM_Filter_HandleTypeDef *hdfsdm_filter)
{
    if (flag)
    {
        for (uint32_t i = 0; i < FFT_SampleNum; i++)
        {
            FFT_inp_int32[i] = Buff[i]>>8;
        }
        flag = false;
    }
}

/**
 * @brief  Retargets the C library printf function to the USART.
 * @param  None
 * @retval None
 */
int _write(int file, char *ptr, int len)
{
    HAL_UART_Transmit(&huart1, (uint8_t *)ptr, (uint16_t)len, 0xFFFFFFFF);
    return len;
}
/* USER CODE END 4 */

void StartTask1_init(void const * argument)
{
  /* USER CODE BEGIN 5 */
	TickType_t xLastWakeTime;
	xLastWakeTime = xTaskGetTickCount ();
	printf("\r\n==========Task 1 Started, Detecting Wave and Comput. FFT =========== \r\n");

	  /* Infinite loop */
	  for(;;)
	  {
		  //Running Task for 0.1 sec
		  vTaskDelayUntil( &xLastWakeTime, 100);

			  // Wait
			  while (flag);

			  // Set input data
			  for (uint32_t i = 0; i < FFT_SampleNum; i++)
				  FFT_inp[i] = (float) FFT_inp_int32[i];

			  // Windowing
			  arm_mult_f32(FFT_inp, FFT_window, FFT_inp, FFT_SampleNum);

			  // Execute FFT
			  arm_rfft_fast_f32(&S, FFT_inp, FFT_oup, 0);

			  // calculate magnitude
			  arm_cmplx_mag_f32(FFT_oup, FFT_mag, FFT_SampleNum / 2);

			  // Normalization (Unitary transformation) of magnitude
			  arm_scale_f32(FFT_mag, 1.0f / sqrtf((float) FFT_SampleNum), FFT_mag, FFT_SampleNum / 2);

			  // AC coupling
			  for (uint32_t i = 0; i < FFT_SampleNum / 2; i++)
			  {
				  if (*(FFT_frq + i) < FFT_AC_COUPLING_HZ)
					  FFT_mag[i] = 1.0f;
				  else
					  break;
			  }

			  float inv_dB_base_mag = 1.0f / 1.0f;
			  for (uint32_t i = 0; i < FFT_SampleNum / 2; i++)
				  FFT_dB[i] = 10.0f * log10f(FFT_mag[i] * inv_dB_base_mag);

			  // calc max mag
			  float mag_max, frq_max;
			  uint32_t maxIndex;
			  arm_max_f32(FFT_mag, FFT_SampleNum / 2, &mag_max, &maxIndex);
			  frq_max = *(FFT_frq + maxIndex);

				 // amplitude = mag_max;
				for (uint32_t i = 0; i < FFT_SampleNum / 2; i++){
							amplitude += FFT_mag[i];

				}

			   amplitude = 2*amplitude/FFT_SampleNum ;
			//printf("Average Amplitude is: %f\r\n", amplitude);

			  printf("\r\nSampleRate=%d, frq_max = %.1f, mag_max = %f\r\n", (int)FFT_SampleRate, frq_max, mag_max);

			  HAL_Delay(1000);
			  flag = true;        // <- Continuous transformation

			  if(frq_max >= FREQ-DELTA && frq_max <= FREQ+DELTA){

					osMessagePut(Queue01Handle, frq_max, 100); //writing freq into queue!

					printf("\r\n\n ===============     Freq Detected :   =============== \r\n" );
					printf("\r ===== Freq. is withing Range [%d, %d] as Value of frq is %f: ==== \r\n",(FREQ-DELTA), (FREQ+DELTA), frq_max);
					printf(" ===============    Task1 Suspended :   =============== \r\n\n" );

					vTaskSuspend(Task1Handle);

			  }

	   // osDelay(100);
	  }
  /* USER CODE END 5 */
}

void StartTask2_init(void const * argument)
{
  /* USER CODE BEGIN StartTask2_init */
	TickType_t xLastWakeTime;
	xLastWakeTime = xTaskGetTickCount ();

	printf("\r\n==========Task 2 Started, Detecting Silence =========== \r\n");
  /* Infinite loop */

  for(;;)
  {
	 vTaskDelayUntil( &xLastWakeTime, 100);
	 flag = true;  // starting again fft process

	 while(flag);

	 for (uint32_t i = 0; i < FFT_SampleNum; i++)
		  FFT_inp[i] = (float) FFT_inp_int32[i];

	  // Windowing
	  arm_mult_f32(FFT_inp, FFT_window, FFT_inp, FFT_SampleNum);

	  // Execute FFT
	  arm_rfft_fast_f32(&S, FFT_inp, FFT_oup, 0);

	  // calculate magnitude
	  arm_cmplx_mag_f32(FFT_oup, FFT_mag, FFT_SampleNum / 2);

	  // Normalization (Unitary transformation) of magnitude
	  arm_scale_f32(FFT_mag, 1.0f / sqrtf((float) FFT_SampleNum), FFT_mag, FFT_SampleNum / 2);

	  // AC coupling
	  for (uint32_t i = 0; i < FFT_SampleNum / 2; i++)
	  {
		  if (*(FFT_frq + i) < FFT_AC_COUPLING_HZ)
			  FFT_mag[i] = 1.0f;
		  else
			  break;
	  }

	 float avgamp = 0.0f;
	 for (uint32_t i = 0; i < FFT_SampleNum / 2; i++){
		 avgamp += FFT_mag[i];
	 }
	 avgamp = 2*avgamp/FFT_SampleNum ;
	 printf("\r\namp value : %f",avgamp);

	  if(avgamp < 1.5){

		printf("\r\n\n ===============     Silence Detected :   =============== \r\n");
		task3_flag = true;

		printf("===============    Task2 Suspended    =============== \r\n\n");
		vTaskSuspend(Task2Handle);

	  }
  }
  /* USER CODE END StartTask2_init */
}

void StartTask3_init(void const * argument)
{
  /* USER CODE BEGIN StartTask3_init */

   /* Infinite loop */
  for(;;)
  {

	  if(task3_flag == true){

		  printf("================ Generating Wave ================ \r\n");
		  HAL_DAC_Start_DMA(&hdac1, DAC_CHANNEL_1, sine_arr, 100, DAC_ALIGN_12B_R);
		  osDelay(TOUT);
		  HAL_DAC_Stop_DMA(&hdac1, DAC_CHANNEL_1);

		  printf("================ Task3 Suspended ================ \r\n");
		  vTaskSuspend(Task3Handle);

	  }

  }
  /* USER CODE END StartTask3_init */
}

 /**
  * @brief  Period elapsed callback in non blocking mode
  * @note   This function is called  when TIM1 interrupt took place, inside
  * HAL_TIM_IRQHandler(). It makes a direct call to HAL_IncTick() to increment
  * a global variable "uwTick" used as application time base.
  * @param  htim : TIM handle
  * @retval None
  */
void HAL_TIM_PeriodElapsedCallback(TIM_HandleTypeDef *htim)
{
  if (htim->Instance == TIM1) {
    HAL_IncTick();
  }
}

void Error_Handler(void)
{
  __disable_irq();
  while (1)
  {
  }
}

/************************ (C) COPYRIGHT STMicroelectronics *****END OF FILE****/
